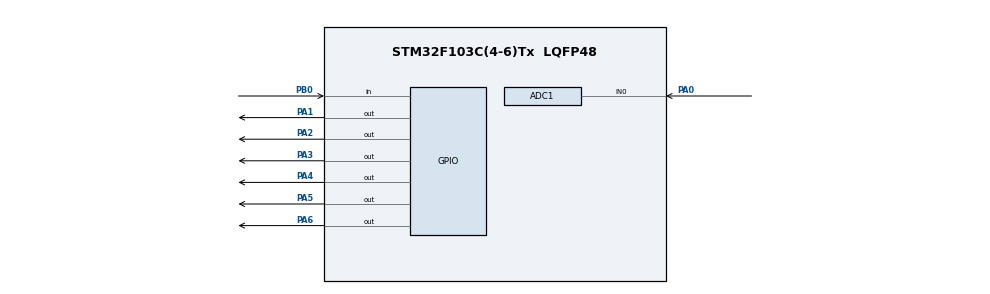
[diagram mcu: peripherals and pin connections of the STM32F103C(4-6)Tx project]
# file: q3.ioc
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ADC1.Channel-0\#ChannelRegularConversion=ADC_CHANNEL_0
ADC1.NbrOfConversionFlag=1
ADC1.Rank-0\#ChannelRegularConversion=1
ADC1.SamplingTime-0\#ChannelRegularConversion=ADC_SAMPLETIME_1CYCLE_5
ADC1.master=1
Mcu.Family=STM32F1
Mcu.Name=STM32F103C(4-6)Tx
Mcu.Package=LQFP48
NVIC.PriorityGroup=NVIC_PRIORITYGROUP_4
PA0-WKUP.Signal=ADCx_IN0
PA1.Signal=GPIO_Output
PA2.Signal=GPIO_Output
PA3.Signal=GPIO_Output
PA4.Signal=GPIO_Output
PA5.Signal=GPIO_Output
PA6.Signal=GPIO_Output
PB0.GPIO_PuPd=GPIO_PULLUP
PB0.Signal=GPIO_Input
ProjectManager.HeapSize=0x200
ProjectManager.StackSize=0x400
ProjectManager.TargetToolchain=STM32CubeIDE
RCC.APB1Freq_Value=8000000
RCC.APB2Freq_Value=8000000
SH.ADCx_IN0.0=ADC1_IN0,IN0
VP_SYS_VS_ND.Mode=No_Debug
board=custom

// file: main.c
/* USER CODE BEGIN Header */
/**
  ******************************************************************************
  * @file           : main.c
  * @brief          : Main program body
  ******************************************************************************
  * @attention
  *
  * Copyright (c) 2026 STMicroelectronics.
  * All rights reserved.
  *
  * This software is licensed under terms that can be found in the LICENSE file
  * in the root directory of this software component.
  * If no LICENSE file comes with this software, it is provided AS-IS.
  *
  ******************************************************************************
  */
/* USER CODE END Header */
#include "main.h"

/* USER CODE BEGIN Includes */
#include "lcd.h"
#include <stdio.h>
/* USER CODE END Includes */

ADC_HandleTypeDef hadc1;

void SystemClock_Config(void);
static void MX_GPIO_Init(void);
static void MX_ADC1_Init(void);

int main(void)
{

  /* MCU Configuration--------------------------------------------------------*/

  /* Reset of all peripherals, Initializes the Flash interface and the Systick. */
  HAL_Init();

  /* Configure the system clock */
  SystemClock_Config();

  /* Initialize all configured peripherals */
  MX_GPIO_Init();
  MX_ADC1_Init();
  /* USER CODE BEGIN 2 */
  Lcd_PortType ports[] = {GPIOA, GPIOA, GPIOA, GPIOA};
  Lcd_PinType pins[] = {GPIO_PIN_3, GPIO_PIN_4, GPIO_PIN_5, GPIO_PIN_6};
  Lcd_HandleTypeDef lcd = Lcd_create(ports, pins, GPIOA, GPIO_PIN_1, GPIOA, GPIO_PIN_2, LCD_4_BIT_MODE);

  // Scale Variables
  float tare_offset = 0.0f;
  float gross_mass = 0.0f;
  float net_mass = 0.0f;

  // Startup Screen
  Lcd_cursor(&lcd, 0, 0);
  Lcd_string(&lcd, "Digital Scale");
  HAL_Delay(1000);
  Lcd_clear(&lcd);
  /* USER CODE END 2 */

  /* Infinite loop */
  while (1)
  {

    /* USER CODE BEGIN 3 */
	  HAL_ADC_Start(&hadc1);
	  if (HAL_ADC_PollForConversion(&hadc1, 10) == HAL_OK)
	  {
	      uint32_t adc_val = HAL_ADC_GetValue(&hadc1);

	      // Convert 12-bit ADC value to Voltage (5V Reference)
	      float voltage = ((float)adc_val / 4095.0f) * 5.0f;

	      // Convert Voltage to Mass (V = 2.5 * Mass)
	      gross_mass = voltage / 2.5f;
	  }
	  HAL_ADC_Stop(&hadc1);

	  // 2. Check the Tare Button (PB0 is Active Low due to Pull-up)
	  if (HAL_GPIO_ReadPin(GPIOB, GPIO_PIN_0) == GPIO_PIN_RESET)
	  {
	      tare_offset = gross_mass;
	      HAL_Delay(200); // Debounce delay
	  }

	  // 3. Calculate Net Mass
	  net_mass = gross_mass - tare_offset;

	  // Clean up floating point errors near zero
	  if (net_mass < 0.01f && net_mass > -0.01f) {
	      net_mass = 0.0f;
	  }

	  // 4. Update the LCD
	  char line1[16];
	  char line2[16];

	  sprintf(line1, "Gross: %.2f kg", gross_mass);
	  sprintf(line2, "Net:   %.2f kg", net_mass);

	  Lcd_cursor(&lcd, 0, 0);
	  Lcd_string(&lcd, line1);
	  Lcd_cursor(&lcd, 1, 0);
	  Lcd_string(&lcd, line2);

	  HAL_Delay(100);
  }
  /* USER CODE END 3 */
}

void SystemClock_Config(void)
{
  RCC_OscInitTypeDef RCC_OscInitStruct = {0};
  RCC_ClkInitTypeDef RCC_ClkInitStruct = {0};
  RCC_PeriphCLKInitTypeDef PeriphClkInit = {0};

  /** Initializes the RCC Oscillators according to the specified parameters
  * in the RCC_OscInitTypeDef structure.
  */
  RCC_OscInitStruct.OscillatorType = RCC_OSCILLATORTYPE_HSI;
  RCC_OscInitStruct.HSIState = RCC_HSI_ON;
  RCC_OscInitStruct.HSICalibrationValue = RCC_HSICALIBRATION_DEFAULT;
  RCC_OscInitStruct.PLL.PLLState = RCC_PLL_NONE;
  if (HAL_RCC_OscConfig(&RCC_OscInitStruct) != HAL_OK)
  {
    Error_Handler();
  }

  /** Initializes the CPU, AHB and APB buses clocks
  */
  RCC_ClkInitStruct.ClockType = RCC_CLOCKTYPE_HCLK|RCC_CLOCKTYPE_SYSCLK
                              |RCC_CLOCKTYPE_PCLK1|RCC_CLOCKTYPE_PCLK2;
  RCC_ClkInitStruct.SYSCLKSource = RCC_SYSCLKSOURCE_HSI;
  RCC_ClkInitStruct.AHBCLKDivider = RCC_SYSCLK_DIV1;
  RCC_ClkInitStruct.APB1CLKDivider = RCC_HCLK_DIV1;
  RCC_ClkInitStruct.APB2CLKDivider = RCC_HCLK_DIV1;

  if (HAL_RCC_ClockConfig(&RCC_ClkInitStruct, FLASH_LATENCY_0) != HAL_OK)
  {
    Error_Handler();
  }
  PeriphClkInit.PeriphClockSelection = RCC_PERIPHCLK_ADC;
  PeriphClkInit.AdcClockSelection = RCC_ADCPCLK2_DIV2;
  if (HAL_RCCEx_PeriphCLKConfig(&PeriphClkInit) != HAL_OK)
  {
    Error_Handler();
  }
}

static void MX_ADC1_Init(void)
{

  ADC_ChannelConfTypeDef sConfig = {0};

  /** Common config
  */
  hadc1.Instance = ADC1;
  hadc1.Init.ScanConvMode = ADC_SCAN_DISABLE;
  hadc1.Init.ContinuousConvMode = DISABLE;
  hadc1.Init.DiscontinuousConvMode = DISABLE;
  hadc1.Init.ExternalTrigConv = ADC_SOFTWARE_START;
  hadc1.Init.DataAlign = ADC_DATAALIGN_RIGHT;
  hadc1.Init.NbrOfConversion = 1;
  if (HAL_ADC_Init(&hadc1) != HAL_OK)
  {
    Error_Handler();
  }

  /** Configure Regular Channel
  */
  sConfig.Channel = ADC_CHANNEL_0;
  sConfig.Rank = ADC_REGULAR_RANK_1;
  sConfig.SamplingTime = ADC_SAMPLETIME_1CYCLE_5;
  if (HAL_ADC_ConfigChannel(&hadc1, &sConfig) != HAL_OK)
  {
    Error_Handler();
  }

}

static void MX_GPIO_Init(void)
{
  GPIO_InitTypeDef GPIO_InitStruct = {0};

  /* GPIO Ports Clock Enable */
  __HAL_RCC_GPIOA_CLK_ENABLE();
  __HAL_RCC_GPIOB_CLK_ENABLE();

  /*Configure GPIO pin Output Level */
  HAL_GPIO_WritePin(GPIOA, GPIO_PIN_1|GPIO_PIN_2|GPIO_PIN_3|GPIO_PIN_4
                          |GPIO_PIN_5|GPIO_PIN_6, GPIO_PIN_RESET);

  /*Configure GPIO pins : PA1 PA2 PA3 PA4
                           PA5 PA6 */
  GPIO_InitStruct.Pin = GPIO_PIN_1|GPIO_PIN_2|GPIO_PIN_3|GPIO_PIN_4
                          |GPIO_PIN_5|GPIO_PIN_6;
  GPIO_InitStruct.Mode = GPIO_MODE_OUTPUT_PP;
  GPIO_InitStruct.Pull = GPIO_NOPULL;
  GPIO_InitStruct.Speed = GPIO_SPEED_FREQ_LOW;
  HAL_GPIO_Init(GPIOA, &GPIO_InitStruct);

  /*Configure GPIO pin : PB0 */
  GPIO_InitStruct.Pin = GPIO_PIN_0;
  GPIO_InitStruct.Mode = GPIO_MODE_INPUT;
  GPIO_InitStruct.Pull = GPIO_PULLUP;
  HAL_GPIO_Init(GPIOB, &GPIO_InitStruct);

}

void Error_Handler(void)
{
  __disable_irq();
  while (1)
  {
  }
}
